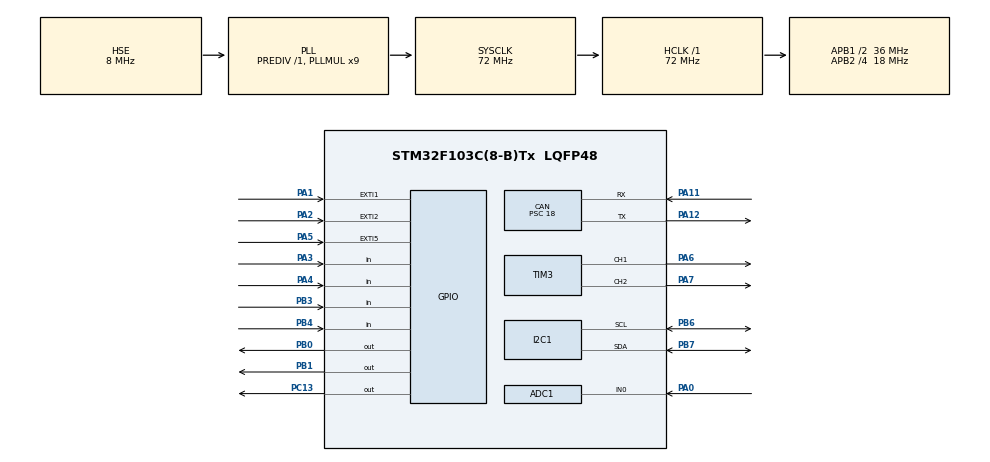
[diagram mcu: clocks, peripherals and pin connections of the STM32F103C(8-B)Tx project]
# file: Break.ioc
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ADC1.Channel-1\#ChannelRegularConversion=ADC_CHANNEL_0
ADC1.ContinuousConvMode=ENABLE
ADC1.NbrOfConversionFlag=1
ADC1.Rank-1\#ChannelRegularConversion=1
ADC1.SamplingTime-1\#ChannelRegularConversion=ADC_SAMPLETIME_1CYCLE_5
ADC1.master=1
CAN.BS1=CAN_BS1_2TQ
CAN.CalculateBaudRate=500000
CAN.CalculateTimeBit=2000
CAN.CalculateTimeQuantum=500.0
CAN.Prescaler=18
Mcu.Family=STM32F1
Mcu.Name=STM32F103C(8-B)Tx
Mcu.Package=LQFP48
NVIC.ADC1_2_IRQn=true\:4\:0\:true\:false\:true\:true\:true\:true
NVIC.CAN1_RX1_IRQn=true\:0\:0\:false\:false\:true\:true\:true\:true
NVIC.EXTI1_IRQn=true\:0\:0\:true\:false\:true\:true\:true\:true
NVIC.EXTI2_IRQn=true\:0\:0\:false\:false\:true\:true\:true\:true
NVIC.EXTI9_5_IRQn=true\:0\:0\:true\:false\:true\:true\:true\:true
NVIC.PriorityGroup=NVIC_PRIORITYGROUP_4
NVIC.TIM3_IRQn=true\:1\:0\:true\:false\:true\:true\:true\:true
NVIC.USB_LP_CAN1_RX0_IRQn=true\:0\:0\:false\:false\:true\:true\:true\:true
PA0-WKUP.Signal=ADCx_IN0
PA1.GPIO_ModeDefaultEXTI=GPIO_MODE_IT_FALLING
PA1.Signal=GPXTI1
PA11.Mode=CAN_Activate
PA11.Signal=CAN_RX
PA12.Mode=CAN_Activate
PA12.Signal=CAN_TX
PA13.Mode=Serial_Wire
PA13.Signal=SYS_JTMS-SWDIO
PA14.Mode=Serial_Wire
PA14.Signal=SYS_JTCK-SWCLK
PA2.GPIO_ModeDefaultEXTI=GPIO_MODE_IT_FALLING
PA2.Signal=GPXTI2
PA3.Signal=GPIO_Input
PA4.Signal=GPIO_Input
PA5.GPIO_ModeDefaultEXTI=GPIO_MODE_IT_RISING
PA5.Signal=GPXTI5
PA6.Signal=S_TIM3_CH1
PA7.Signal=S_TIM3_CH2
PB0.GPIO_PuPd=GPIO_PULLUP
PB0.Signal=GPIO_Output
PB1.GPIO_PuPd=GPIO_PULLUP
PB1.Signal=GPIO_Output
PB3.Signal=GPIO_Input
PB4.Signal=GPIO_Input
PB6.Mode=I2C
PB6.Signal=I2C1_SCL
PB7.Mode=I2C
PB7.Signal=I2C1_SDA
PC13-TAMPER-RTC.Signal=GPIO_Output
PC14-OSC32_IN.Mode=LSE-External-Oscillator
PC14-OSC32_IN.Signal=RCC_OSC32_IN
PC15-OSC32_OUT.Mode=LSE-External-Oscillator
PC15-OSC32_OUT.Signal=RCC_OSC32_OUT
PD0-OSC_IN.Mode=HSE-External-Oscillator
PD0-OSC_IN.Signal=RCC_OSC_IN
PD1-OSC_OUT.Mode=HSE-External-Oscillator
PD1-OSC_OUT.Signal=RCC_OSC_OUT
ProjectManager.HeapSize=0x200
ProjectManager.StackSize=0x400
ProjectManager.TargetToolchain=MDK-ARM V5.32
RCC.AHBFreq_Value=72000000
RCC.APB1CLKDivider=RCC_HCLK_DIV2
RCC.APB1Freq_Value=36000000
RCC.APB1TimFreq_Value=72000000
RCC.APB2CLKDivider=RCC_HCLK_DIV4
RCC.APB2Freq_Value=18000000
RCC.APB2TimFreq_Value=36000000
RCC.HCLKFreq_Value=72000000
RCC.PLLMUL=RCC_PLL_MUL9
RCC.PLLSourceVirtual=RCC_PLLSOURCE_HSE
RCC.SYSCLKFreq_VALUE=72000000
RCC.SYSCLKSource=RCC_SYSCLKSOURCE_PLLCLK
RCC.USBFreq_Value=72000000
SH.ADCx_IN0.0=ADC1_IN0,IN0
SH.S_TIM3_CH1.0=TIM3_CH1,PWM Generation1 CH1
SH.S_TIM3_CH2.0=TIM3_CH2,PWM Generation2 CH2
TIM1.Period=65535
TIM1.Prescaler=72
TIM3.Channel-PWM\ Generation1\ CH1=TIM_CHANNEL_1
TIM3.Channel-PWM\ Generation2\ CH2=TIM_CHANNEL_2
VP_TIM1_VS_ClockSourceINT.Mode=Internal
VP_TIM3_VS_ClockSourceINT.Mode=Internal
board=custom

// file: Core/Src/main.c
/* USER CODE BEGIN Header */
/**
  ******************************************************************************
  * @file           : main.c
  * @brief          : Main program body
  ******************************************************************************
  * @attention
  *
  * Copyright (c) 2023 STMicroelectronics.
  * All rights reserved.
  *
  * This software is licensed under terms that can be found in the LICENSE file
  * in the root directory of this software component.
  * If no LICENSE file comes with this software, it is provided AS-IS.
  *
  ******************************************************************************
  */
/* USER CODE END Header */
#include "main.h"

/* USER CODE BEGIN Includes */
#include <stdio.h>
#include "CLCD_I2C.h"
#include "mpu6050.h"
#include "math.h"
/* USER CODE END Includes */

/* USER CODE BEGIN PD */
#define diameter            0.4 //(m)
#define PI                  3.14159
#define ACCELERATION				0
#define GYROSCOPE						1
#define ANGLE						  	2
#define IDLE								3
#define AUTO             		4
#define MANUAL 							5
#define MASTER_ID      			0x281
#define SLAVE_ID1   				0x012
#define SLAVE_ID2   				0x274
#define BREAK      					0x222
/* USER CODE END PD */

ADC_HandleTypeDef hadc1;

CAN_HandleTypeDef hcan;

I2C_HandleTypeDef hi2c1;

TIM_HandleTypeDef htim1;
TIM_HandleTypeDef htim3;

/* USER CODE BEGIN PV */
// IMU variable
MPU6050_t 				Data;

// I2C of LCD 16x2
CLCD_I2C_Name LCD1;
float adcValue;
float aileValue;
uint8_t mode=0 ;
uint8_t mode_1 = AUTO, changeMode;
char lcdAcelX[16];
char lcdAcelY[16];
char lcdADC[16];

// CAN protocol variable
CAN_HandleTypeDef     CanHandle;
CAN_TxHeaderTypeDef   TxHeader;
CAN_RxHeaderTypeDef   RxHeader;
uint8_t               TxData[8];
uint8_t               RxData[8];
uint8_t               RxDataBreak[8];
uint32_t              TxMailbox;

//PID
float Kp = 350;
float Ts = 0.01; // 100ms
float input, output;

// Khai bao bien cho PWM
uint16_t pwm_value = 0;
uint16_t pwmValueCW = 0;
uint16_t pwmValueCCW = 0;
float setpoint = 0;
uint8_t btnState;
uint8_t state =0;

/* USER CODE END PV */

void SystemClock_Config(void);
static void MX_GPIO_Init(void);
static void MX_ADC1_Init(void);
static void MX_I2C1_Init(void);
static void MX_TIM3_Init(void);
static void MX_CAN_Init(void);
static void MX_TIM1_Init(void);
/* USER CODE BEGIN PFP */
void HAL_TIM_PeriodElapsedCallback(TIM_HandleTypeDef *htim);
void dc_motor_control(float setpoint, float input);
float pid_controller(float setpoint, float input);
void WriteCAN(uint16_t ID,uint8_t *data);
void HAL_CAN_RxFifo0MsgPendingCallback(CAN_HandleTypeDef *hcan);
void HAL_GPIO_EXTI_Callback(uint16_t GPIO_Pin);
/* USER CODE END PFP */

int main(void)
{

  /* MCU Configuration--------------------------------------------------------*/

  /* Reset of all peripherals, Initializes the Flash interface and the Systick. */
  HAL_Init();

  /* Configure the system clock */
  SystemClock_Config();

  /* Initialize all configured peripherals */
  MX_GPIO_Init();
  MX_ADC1_Init();
  MX_I2C1_Init();
  MX_TIM3_Init();
  MX_CAN_Init();
  MX_TIM1_Init();
  /* USER CODE BEGIN 2 */
	// start analog to digital convert
	HAL_ADC_Start(&hadc1);
	HAL_GPIO_WritePin(GPIOC,GPIO_PIN_13,1);
  //Start timer
	HAL_TIM_Base_Start(&htim1);
	HAL_TIM_PWM_Start(&htim3, TIM_CHANNEL_1); // khoi dong PWM tai channel 1
	HAL_TIM_PWM_Start(&htim3, TIM_CHANNEL_2); // khoi dong PWM tai channel 2
	// Enable motor
	HAL_GPIO_WritePin(GPIOB,GPIO_PIN_0,1);// active for run Clockwise direction
	HAL_GPIO_WritePin(GPIOB,GPIO_PIN_1,1);// active for run Counter Clockwise direction

	CLCD_I2C_Init(&LCD1,&hi2c1,0x4E,16,2);

	// Initial CAN protocol
	HAL_CAN_Start(&hcan);
	HAL_CAN_ActivateNotification(&hcan, CAN_IT_RX_FIFO0_MSG_PENDING);

  TxHeader.DLC = 8;
  TxHeader.ExtId = 0;
  TxHeader.IDE = CAN_ID_STD;
  TxHeader.RTR = CAN_RTR_DATA;
  TxHeader.TransmitGlobalTime = DISABLE;

	//alpha = sampleTime/(N+sampleTime);

	MPU6050_Init(&hi2c1);
  /* USER CODE END 2 */

  /* Infinite loop */
  while (1)
  {

    /* USER CODE BEGIN 3 */

		switch(mode_1){
			case IDLE:
//				CLCD_I2C_SetCursor(&LCD1, 0,0);
//				CLCD_I2C_WriteString(&LCD1, "  AUTO / MANUAL ");
				break;
			case AUTO:
				if(changeMode!=mode_1){
//					CLCD_I2C_Clear(&LCD1);
//					CLCD_I2C_SetCursor(&LCD1, 0,0);
//					CLCD_I2C_WriteString(&LCD1, "    AUTO MODE   ");
					setpoint = 0;
					HAL_Delay(2000);
					changeMode=mode_1;
				}
//				sprintf(lcdAcelX,"X:%.2f Z:%.2f ",Data.KalmanAngleX,Data.KalmanAngleY);
//				sprintf(lcdAcelY,"Y:%d  :%c    ",RxDataBreak[7],RxDataBreak[6]);
//				CLCD_I2C_SetCursor(&LCD1, 0,0);
//				CLCD_I2C_WriteString(&LCD1,lcdAcelX);
//				CLCD_I2C_SetCursor(&LCD1, 0,1);
//				CLCD_I2C_WriteString(&LCD1,lcdAcelY);
				if(RxDataBreak[7]==0)
				{
					if(RxDataBreak[6]=='G')
					{
						if( Data.KalmanAngleX <= -5.0)
						{
							uint16_t pwm_decelaration  =  10000*0.05*(-Data.KalmanAngleX / 5.0);
							__HAL_TIM_SET_COMPARE(&htim3, TIM_CHANNEL_1,pwm_decelaration);
						}
						else
						{
							while (HAL_GPIO_ReadPin(GPIOB, GPIO_PIN_4) == 1)// cong tac hanh trinh
							{
								pwmValueCW = 0;
								pwmValueCCW = 33000;
								__HAL_TIM_SET_COMPARE(&htim3, TIM_CHANNEL_1, pwmValueCW);
								__HAL_TIM_SET_COMPARE(&htim3, TIM_CHANNEL_2, pwmValueCCW);
							}

							pwmValueCW = 0;
							pwmValueCCW = 0;
							__HAL_TIM_SET_COMPARE(&htim3, TIM_CHANNEL_1, 0);
							__HAL_TIM_SET_COMPARE(&htim3, TIM_CHANNEL_2, 0);
						}
					}
					else if (RxDataBreak[6]=='R')
					{
							while (HAL_GPIO_ReadPin(GPIOB, GPIO_PIN_4) == 1)// cong tac hanh trinh
							{
								pwmValueCW = 0;
								pwmValueCCW = 33000;
								__HAL_TIM_SET_COMPARE(&htim3, TIM_CHANNEL_1, pwmValueCW);
								__HAL_TIM_SET_COMPARE(&htim3, TIM_CHANNEL_2, pwmValueCCW);
							}

							pwmValueCW = 0;
							pwmValueCCW = 0;
							__HAL_TIM_SET_COMPARE(&htim3, TIM_CHANNEL_1, 0);
							__HAL_TIM_SET_COMPARE(&htim3, TIM_CHANNEL_2, 0);
					}
				}
				else
				{
					if(RxDataBreak[6] == 'R')
					{
						pwm_value=RxDataBreak[7]*0.01*20000;
						__HAL_TIM_SET_COMPARE(&htim3, TIM_CHANNEL_1, pwm_value);
					}
					else if (RxDataBreak[6] == 'S')
					{
						if(Data.KalmanAngleX<3.0 && Data.KalmanAngleX > -3.0)
						{
							while (HAL_GPIO_ReadPin(GPIOB, GPIO_PIN_4) == 1)// cong tac hanh trinh
							{
								pwmValueCW = 0;
								pwmValueCCW = 33000;
								__HAL_TIM_SET_COMPARE(&htim3, TIM_CHANNEL_1, pwmValueCW);
								__HAL_TIM_SET_COMPARE(&htim3, TIM_CHANNEL_2, pwmValueCCW);
							}

							pwmValueCW = 0;
							pwmValueCCW = 0;
							__HAL_TIM_SET_COMPARE(&htim3, TIM_CHANNEL_1, 0);
							__HAL_TIM_SET_COMPARE(&htim3, TIM_CHANNEL_2, 0);

						}

						else
						{
							__HAL_TIM_SET_COMPARE(&htim3, TIM_CHANNEL_1, 23000);
						}
					}
				}

				break;
			case MANUAL:
				if(changeMode!=mode_1){
//					CLCD_I2C_Clear(&LCD1);
//					CLCD_I2C_SetCursor(&LCD1, 0,0);
//					CLCD_I2C_WriteString(&LCD1, "   MANUAL MODE  ");
					changeMode=mode_1;
					HAL_Delay(2000);
//					CLCD_I2C_Clear(&LCD1);
				}
				adcValue = (float)(HAL_ADC_GetValue(&hadc1)/4095.0);
//				sprintf(lcdAcelX,"X:%.2f Z:%.2f ",Data.KalmanAngleX,Data.KalmanAngleY);
//				sprintf(lcdAcelY,"Y:%.2f A:%.2f ",Data.Ay,adcValue);
//				CLCD_I2C_SetCursor(&LCD1, 0,0);
//				CLCD_I2C_WriteString(&LCD1,lcdAcelX);
//				CLCD_I2C_SetCursor(&LCD1, 0,1);
//				CLCD_I2C_WriteString(&LCD1,lcdAcelY);
				if(state==1)
				{
					if(HAL_GPIO_ReadPin(GPIOA, GPIO_PIN_3) == 0)
					{
						while(HAL_GPIO_ReadPin(GPIOA, GPIO_PIN_3) == 0)
							{
								adcValue = (float)(HAL_ADC_GetValue(&hadc1)/4095.0);
								pwmValueCW = (uint16_t)(65535 * adcValue);
								pwmValueCCW = 0;
								__HAL_TIM_SET_COMPARE(&htim3, TIM_CHANNEL_1, pwmValueCW);
								__HAL_TIM_SET_COMPARE(&htim3, TIM_CHANNEL_2, pwmValueCCW);
							}
						pwmValueCW = 0;
						pwmValueCCW = 0;
						__HAL_TIM_SET_COMPARE(&htim3, TIM_CHANNEL_1, 0);
						__HAL_TIM_SET_COMPARE(&htim3, TIM_CHANNEL_2, 0);
						state = 0;
					}
				}
				else if (state==0)
				{
					while(HAL_GPIO_ReadPin(GPIOB, GPIO_PIN_4) == 1)// cong tac hanh trinh
					{
						pwmValueCW = 0;
						pwmValueCCW = 0.2*65535;
						__HAL_TIM_SET_COMPARE(&htim3, TIM_CHANNEL_1, pwmValueCW);
						__HAL_TIM_SET_COMPARE(&htim3, TIM_CHANNEL_2, pwmValueCCW);
					}
					pwmValueCW = 0;
					pwmValueCCW = 0;
					__HAL_TIM_SET_COMPARE(&htim3, TIM_CHANNEL_1, 0);
					__HAL_TIM_SET_COMPARE(&htim3, TIM_CHANNEL_2, 0);
					state = 1;
				}
				break;
		}

	}

  /* USER CODE END 3 */
}

void SystemClock_Config(void)
{
  RCC_OscInitTypeDef RCC_OscInitStruct = {0};
  RCC_ClkInitTypeDef RCC_ClkInitStruct = {0};
  RCC_PeriphCLKInitTypeDef PeriphClkInit = {0};

  /** Initializes the RCC Oscillators according to the specified parameters
  * in the RCC_OscInitTypeDef structure.
  */
  RCC_OscInitStruct.OscillatorType = RCC_OSCILLATORTYPE_HSE;
  RCC_OscInitStruct.HSEState = RCC_HSE_ON;
  RCC_OscInitStruct.HSEPredivValue = RCC_HSE_PREDIV_DIV1;
  RCC_OscInitStruct.HSIState = RCC_HSI_ON;
  RCC_OscInitStruct.PLL.PLLState = RCC_PLL_ON;
  RCC_OscInitStruct.PLL.PLLSource = RCC_PLLSOURCE_HSE;
  RCC_OscInitStruct.PLL.PLLMUL = RCC_PLL_MUL9;
  if (HAL_RCC_OscConfig(&RCC_OscInitStruct) != HAL_OK)
  {
    Error_Handler();
  }

  /** Initializes the CPU, AHB and APB buses clocks
  */
  RCC_ClkInitStruct.ClockType = RCC_CLOCKTYPE_HCLK|RCC_CLOCKTYPE_SYSCLK
                              |RCC_CLOCKTYPE_PCLK1|RCC_CLOCKTYPE_PCLK2;
  RCC_ClkInitStruct.SYSCLKSource = RCC_SYSCLKSOURCE_PLLCLK;
  RCC_ClkInitStruct.AHBCLKDivider = RCC_SYSCLK_DIV1;
  RCC_ClkInitStruct.APB1CLKDivider = RCC_HCLK_DIV2;
  RCC_ClkInitStruct.APB2CLKDivider = RCC_HCLK_DIV4;

  if (HAL_RCC_ClockConfig(&RCC_ClkInitStruct, FLASH_LATENCY_2) != HAL_OK)
  {
    Error_Handler();
  }
  PeriphClkInit.PeriphClockSelection = RCC_PERIPHCLK_ADC;
  PeriphClkInit.AdcClockSelection = RCC_ADCPCLK2_DIV2;
  if (HAL_RCCEx_PeriphCLKConfig(&PeriphClkInit) != HAL_OK)
  {
    Error_Handler();
  }
}

static void MX_ADC1_Init(void)
{

  ADC_ChannelConfTypeDef sConfig = {0};

  /** Common config
  */
  hadc1.Instance = ADC1;
  hadc1.Init.ScanConvMode = ADC_SCAN_DISABLE;
  hadc1.Init.ContinuousConvMode = ENABLE;
  hadc1.Init.DiscontinuousConvMode = DISABLE;
  hadc1.Init.ExternalTrigConv = ADC_SOFTWARE_START;
  hadc1.Init.DataAlign = ADC_DATAALIGN_RIGHT;
  hadc1.Init.NbrOfConversion = 1;
  if (HAL_ADC_Init(&hadc1) != HAL_OK)
  {
    Error_Handler();
  }

  /** Configure Regular Channel
  */
  sConfig.Channel = ADC_CHANNEL_0;
  sConfig.Rank = ADC_REGULAR_RANK_1;
  sConfig.SamplingTime = ADC_SAMPLETIME_1CYCLE_5;
  if (HAL_ADC_ConfigChannel(&hadc1, &sConfig) != HAL_OK)
  {
    Error_Handler();
  }

}

static void MX_CAN_Init(void)
{

  hcan.Instance = CAN1;
  hcan.Init.Prescaler = 18;
  hcan.Init.Mode = CAN_MODE_NORMAL;
  hcan.Init.SyncJumpWidth = CAN_SJW_1TQ;
  hcan.Init.TimeSeg1 = CAN_BS1_2TQ;
  hcan.Init.TimeSeg2 = CAN_BS2_1TQ;
  hcan.Init.TimeTriggeredMode = DISABLE;
  hcan.Init.AutoBusOff = DISABLE;
  hcan.Init.AutoWakeUp = DISABLE;
  hcan.Init.AutoRetransmission = DISABLE;
  hcan.Init.ReceiveFifoLocked = DISABLE;
  hcan.Init.TransmitFifoPriority = DISABLE;
  if (HAL_CAN_Init(&hcan) != HAL_OK)
  {
    Error_Handler();
  }
  /* USER CODE BEGIN CAN_Init 2 */
	  CAN_FilterTypeDef canfilterconfig;

  canfilterconfig.FilterActivation = CAN_FILTER_ENABLE;
  canfilterconfig.FilterBank = 10;
  canfilterconfig.FilterFIFOAssignment = CAN_RX_FIFO0;
  canfilterconfig.FilterIdHigh = 0x0000;
  canfilterconfig.FilterIdLow = 0x0000;
  canfilterconfig.FilterMaskIdHigh = 0x0000;
  canfilterconfig.FilterMaskIdLow = 0x0000;
  canfilterconfig.FilterMode = CAN_FILTERMODE_IDMASK;
  canfilterconfig.FilterScale = CAN_FILTERSCALE_32BIT;
  canfilterconfig.SlaveStartFilterBank = 13;

  HAL_CAN_ConfigFilter(&hcan, &canfilterconfig);

  /* USER CODE END CAN_Init 2 */

}

static void MX_I2C1_Init(void)
{

  hi2c1.Instance = I2C1;
  hi2c1.Init.ClockSpeed = 100000;
  hi2c1.Init.DutyCycle = I2C_DUTYCYCLE_2;
  hi2c1.Init.OwnAddress1 = 0;
  hi2c1.Init.AddressingMode = I2C_ADDRESSINGMODE_7BIT;
  hi2c1.Init.DualAddressMode = I2C_DUALADDRESS_DISABLE;
  hi2c1.Init.OwnAddress2 = 0;
  hi2c1.Init.GeneralCallMode = I2C_GENERALCALL_DISABLE;
  hi2c1.Init.NoStretchMode = I2C_NOSTRETCH_DISABLE;
  if (HAL_I2C_Init(&hi2c1) != HAL_OK)
  {
    Error_Handler();
  }

}

static void MX_TIM1_Init(void)
{

  TIM_ClockConfigTypeDef sClockSourceConfig = {0};
  TIM_MasterConfigTypeDef sMasterConfig = {0};

  htim1.Instance = TIM1;
  htim1.Init.Prescaler = 72;
  htim1.Init.CounterMode = TIM_COUNTERMODE_UP;
  htim1.Init.Period = 65535;
  htim1.Init.ClockDivision = TIM_CLOCKDIVISION_DIV1;
  htim1.Init.RepetitionCounter = 0;
  htim1.Init.AutoReloadPreload = TIM_AUTORELOAD_PRELOAD_DISABLE;
  if (HAL_TIM_Base_Init(&htim1) != HAL_OK)
  {
    Error_Handler();
  }
  sClockSourceConfig.ClockSource = TIM_CLOCKSOURCE_INTERNAL;
  if (HAL_TIM_ConfigClockSource(&htim1, &sClockSourceConfig) != HAL_OK)
  {
    Error_Handler();
  }
  sMasterConfig.MasterOutputTrigger = TIM_TRGO_RESET;
  sMasterConfig.MasterSlaveMode = TIM_MASTERSLAVEMODE_DISABLE;
  if (HAL_TIMEx_MasterConfigSynchronization(&htim1, &sMasterConfig) != HAL_OK)
  {
    Error_Handler();
  }

}

static void MX_TIM3_Init(void)
{

  TIM_ClockConfigTypeDef sClockSourceConfig = {0};
  TIM_MasterConfigTypeDef sMasterConfig = {0};
  TIM_OC_InitTypeDef sConfigOC = {0};

  htim3.Instance = TIM3;
  htim3.Init.Prescaler = 0;
  htim3.Init.CounterMode = TIM_COUNTERMODE_UP;
  htim3.Init.Period = 65535;
  htim3.Init.ClockDivision = TIM_CLOCKDIVISION_DIV1;
  htim3.Init.AutoReloadPreload = TIM_AUTORELOAD_PRELOAD_DISABLE;
  if (HAL_TIM_Base_Init(&htim3) != HAL_OK)
  {
    Error_Handler();
  }
  sClockSourceConfig.ClockSource = TIM_CLOCKSOURCE_INTERNAL;
  if (HAL_TIM_ConfigClockSource(&htim3, &sClockSourceConfig) != HAL_OK)
  {
    Error_Handler();
  }
  if (HAL_TIM_PWM_Init(&htim3) != HAL_OK)
  {
    Error_Handler();
  }
  sMasterConfig.MasterOutputTrigger = TIM_TRGO_RESET;
  sMasterConfig.MasterSlaveMode = TIM_MASTERSLAVEMODE_DISABLE;
  if (HAL_TIMEx_MasterConfigSynchronization(&htim3, &sMasterConfig) != HAL_OK)
  {
    Error_Handler();
  }
  sConfigOC.OCMode = TIM_OCMODE_PWM1;
  sConfigOC.Pulse = 0;
  sConfigOC.OCPolarity = TIM_OCPOLARITY_HIGH;
  sConfigOC.OCFastMode = TIM_OCFAST_DISABLE;
  if (HAL_TIM_PWM_ConfigChannel(&htim3, &sConfigOC, TIM_CHANNEL_1) != HAL_OK)
  {
    Error_Handler();
  }
  if (HAL_TIM_PWM_ConfigChannel(&htim3, &sConfigOC, TIM_CHANNEL_2) != HAL_OK)
  {
    Error_Handler();
  }
  HAL_TIM_MspPostInit(&htim3);

}

static void MX_GPIO_Init(void)
{
  GPIO_InitTypeDef GPIO_InitStruct = {0};

  /* GPIO Ports Clock Enable */
  __HAL_RCC_GPIOC_CLK_ENABLE();
  __HAL_RCC_GPIOD_CLK_ENABLE();
  __HAL_RCC_GPIOA_CLK_ENABLE();
  __HAL_RCC_GPIOB_CLK_ENABLE();

  /*Configure GPIO pin Output Level */
  HAL_GPIO_WritePin(GPIOC, GPIO_PIN_13, GPIO_PIN_RESET);

  /*Configure GPIO pin Output Level */
  HAL_GPIO_WritePin(GPIOB, GPIO_PIN_0|GPIO_PIN_1, GPIO_PIN_RESET);

  /*Configure GPIO pin : PC13 */
  GPIO_InitStruct.Pin = GPIO_PIN_13;
  GPIO_InitStruct.Mode = GPIO_MODE_OUTPUT_PP;
  GPIO_InitStruct.Pull = GPIO_NOPULL;
  GPIO_InitStruct.Speed = GPIO_SPEED_FREQ_LOW;
  HAL_GPIO_Init(GPIOC, &GPIO_InitStruct);

  /*Configure GPIO pins : PA1 PA2 */
  GPIO_InitStruct.Pin = GPIO_PIN_1|GPIO_PIN_2;
  GPIO_InitStruct.Mode = GPIO_MODE_IT_FALLING;
  GPIO_InitStruct.Pull = GPIO_NOPULL;
  HAL_GPIO_Init(GPIOA, &GPIO_InitStruct);

  /*Configure GPIO pins : PA3 PA4 */
  GPIO_InitStruct.Pin = GPIO_PIN_3|GPIO_PIN_4;
  GPIO_InitStruct.Mode = GPIO_MODE_INPUT;
  GPIO_InitStruct.Pull = GPIO_NOPULL;
  HAL_GPIO_Init(GPIOA, &GPIO_InitStruct);

  /*Configure GPIO pin : PA5 */
  GPIO_InitStruct.Pin = GPIO_PIN_5;
  GPIO_InitStruct.Mode = GPIO_MODE_IT_RISING;
  GPIO_InitStruct.Pull = GPIO_NOPULL;
  HAL_GPIO_Init(GPIOA, &GPIO_InitStruct);

  /*Configure GPIO pins : PB0 PB1 */
  GPIO_InitStruct.Pin = GPIO_PIN_0|GPIO_PIN_1;
  GPIO_InitStruct.Mode = GPIO_MODE_OUTPUT_PP;
  GPIO_InitStruct.Pull = GPIO_PULLUP;
  GPIO_InitStruct.Speed = GPIO_SPEED_FREQ_LOW;
  HAL_GPIO_Init(GPIOB, &GPIO_InitStruct);

  /*Configure GPIO pins : PB3 PB4 */
  GPIO_InitStruct.Pin = GPIO_PIN_3|GPIO_PIN_4;
  GPIO_InitStruct.Mode = GPIO_MODE_INPUT;
  GPIO_InitStruct.Pull = GPIO_PULLUP;
  HAL_GPIO_Init(GPIOB, &GPIO_InitStruct);

  /* EXTI interrupt init*/
  HAL_NVIC_SetPriority(EXTI1_IRQn, 0, 0);
  HAL_NVIC_EnableIRQ(EXTI1_IRQn);

  HAL_NVIC_SetPriority(EXTI2_IRQn, 0, 0);
  HAL_NVIC_EnableIRQ(EXTI2_IRQn);

  HAL_NVIC_SetPriority(EXTI9_5_IRQn, 0, 0);
  HAL_NVIC_EnableIRQ(EXTI9_5_IRQn);

}

/* USER CODE BEGIN 4 */

// Traditional PID
float pid_controller(float setpoint, float input){

    float error = setpoint - input;
    float output = Kp * error;

    // Luu tr? sai s? vа tнch phвn

		if (output < -100)
        output = -100;
    else if (output > 0)
        output = 0;

    return output;
}

// dieu khien dong co dua tren pid
void dc_motor_control(float setpoint, float input)
{
	if (mode == AUTO)
	{
		output = pid_controller(setpoint, input);

			// tнnh gia tri PWM tu gia tri dieu khien PID va xuat xung PWM tai chan PB6
		if (output <= 100)
		{
			pwm_value = (uint16_t)(-output *0.1* 8500);

		}

		__HAL_TIM_SET_COMPARE(&htim3, TIM_CHANNEL_1, pwm_value);
	}
}
void HAL_GPIO_EXTI_Callback(uint16_t GPIO_Pin)
{
	if (GPIO_Pin==GPIO_PIN_1)
	{
		mode++;
		mode_1 = AUTO;
		if (mode>2) mode=0;

	}
	else if (GPIO_Pin==GPIO_PIN_2){

		mode_1= MANUAL;

	}
	else if (GPIO_Pin==GPIO_PIN_5)
	{
		MPU6050_Read_All(&hi2c1, &Data);
	}
}

void WriteCAN(uint16_t ID,uint8_t *data)
{
	uint8_t dataOut[8];
	TxHeader.StdId = ID;
	dataOut[0] = data[0];
	dataOut[1] = data[1];
	dataOut[2] = data[2];
	dataOut[3] = data[3];
	dataOut[4] = data[4];
	dataOut[5] = data[5];
	dataOut[6] = data[6];
	dataOut[7] = data[7];
	HAL_CAN_AddTxMessage(&hcan, &TxHeader, dataOut, &TxMailbox);

}
void HAL_CAN_RxFifo0MsgPendingCallback(CAN_HandleTypeDef *hcan)
{
	if(HAL_CAN_GetRxMessage(hcan, CAN_RX_FIFO0, &RxHeader, RxData)== HAL_OK)
	{
		if(RxHeader.StdId==BREAK)
		{
			HAL_GPIO_TogglePin(GPIOC, GPIO_PIN_13);
			RxDataBreak[7]=RxData[7];
			RxDataBreak[6]=RxData[6];
		}
	}

}

/* USER CODE END 4 */

void Error_Handler(void)
{
  __disable_irq();
  while (1)
  {
  }
}
